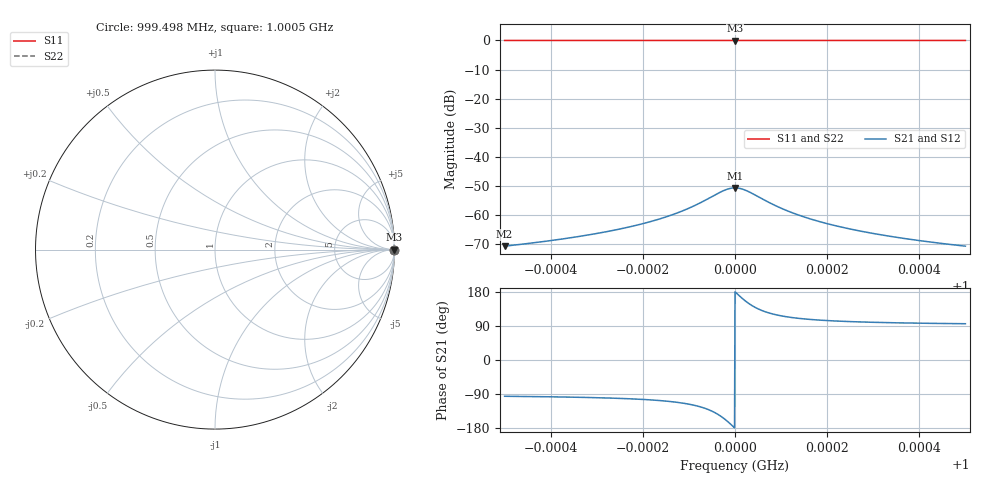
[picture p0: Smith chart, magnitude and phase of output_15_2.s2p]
! File generated for n1 = 15, n2 = 2
! b1 = 0.002154
! b2 = 0.001000
! Q0 = 10000.000000
! f0 = 1000000000.000000
! n = 1001
! rel_span = 10.000000
# Hz S RI R 50
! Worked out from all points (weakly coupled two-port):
!   1001 points, 999.498 MHz to 1.0005 GHz, reference 50 ohm
!   highest |S21| = -50.67 dB at 1 GHz (marker M1); lowest = -70.7 dB at 999.498 MHz (marker M2)
!   lowest |S11| = 0.0 dB at 1 GHz (marker M3), VSWR 464.62, Z = 2.32e+04 + j0 ohm
!   |S11| at or under -10 dB: nowhere
!   |S22| runs from 0.0 to 0.0 dB; largest |S21 - S12| = 0
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9.994984e8  1 -0.000425  -2.9e-05 -0.00029  -2.9e-05 -0.00029  1 -0.000197
9.995847e8  0.9999 -0.000511  -4.21e-05 -0.000348  -4.21e-05 -0.000348  1 -0.000237
9.996659e8  0.9999 -0.000631  -6.45e-05 -0.00043  -6.45e-05 -0.00043  1 -0.000293
9.997582e8  0.9998 -0.000854  -0.000121 -0.000582  -0.000121 -0.000582  0.9999 -0.000397
9.997974e8  0.9998 -0.001  -0.000169 -0.000682  -0.000169 -0.000682  0.9999 -0.000465
9.998335e8  0.9996 -0.00119  -0.000243 -0.000808  -0.000243 -0.000808  0.9998 -0.000551
9.998686e8  0.9995 -0.00143  -0.000372 -0.000975  -0.000372 -0.000975  0.9997 -0.000664
9.998997e8  0.9991 -0.00172  -0.000585 -0.00117  -0.000585 -0.00117  0.9996 -0.000797
9.999238e8  0.9987 -0.00197  -0.000884 -0.00134  -0.000884 -0.00134  0.9994 -0.000915
9.999769e8  0.9965 -0.00163  -0.00242 -0.00111  -0.00242 -0.00111  0.9984 -0.000757
9.99989e8  0.9959 -0.000901  -0.00279 -0.000614  -0.00279 -0.000614  0.9981 -0.000418
1e9  0.9957 0  -0.00293 0  -0.00293 0  0.998 0
1.000011e9  0.9959 0.000901  -0.00279 0.000614  -0.00279 0.000614  0.9981 0.000418
1.000023e9  0.9965 0.00163  -0.00242 0.00111  -0.00242 0.00111  0.9984 0.000757
1.000076e9  0.9987 0.00197  -0.000884 0.00134  -0.000884 0.00134  0.9994 0.000915
1.0001e9  0.9991 0.00172  -0.000585 0.00117  -0.000585 0.00117  0.9996 0.000798
1.000132e9  0.9995 0.00142  -0.000367 0.000969  -0.000367 0.000969  0.9997 0.00066
1.000168e9  0.9996 0.00118  -0.000241 0.000804  -0.000241 0.000804  0.9998 0.000548
1.000243e9  0.9998 0.000851  -0.00012 0.00058  -0.00012 0.00058  0.9999 0.000395
1.000335e9  0.9999 0.000629  -6.42e-05 0.000429  -6.42e-05 0.000429  1 0.000292
1.000416e9  0.9999 0.00051  -4.19e-05 0.000348  -4.19e-05 0.000348  1 0.000237
1.000502e9  1 0.000425  -2.9e-05 0.00029  -2.9e-05 0.00029  1 0.000197
